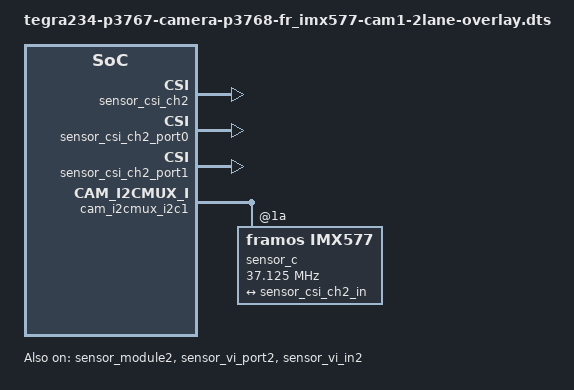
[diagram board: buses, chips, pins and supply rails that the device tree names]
// SPDX-License-Identifier: GPL-2.0
/*
 * Copyright (c) 2024 Framos. All rights reserved.
 *
 * tegra234-p3767-camera-p3768-fr_imx577-cam1-2lane-overlay.dts - IMX577 sensor device tree
 */

/dts-v1/;
/plugin/;

#include <dt-bindings/clock/tegra234-clock.h>
#include <dt-bindings/gpio/tegra234-gpio.h>
#include <dt-bindings/tegra234-p3767-0000-common.h>


/ {
	overlay-name = "Framos IMX577-CAM1-2Lane";
	jetson-header-name = "Jetson 24pin CSI Connector";
	compatible = JETSON_COMPATIBLE_P3768;

	fragment@0 {
		target = <&sensor_module2>;
		__overlay__ {
			status = "okay";
			badge = "imx577_bottomright_framos";
			drivernode0 {
				status = "okay";
				/* Declare PCL support driver (classically known as guid) */
				devname = "imx577 9-001a";
				/* Declare the device-tree hierarchy to driver instance */
				sysfs-device-tree = "/sys/firmware/devicetree/base/bus@0/cam_i2cmux/i2c@1/imx577_c@1a";
			};
		};
	};

	fragment@1 {
		target = <&sensor_vi_port2>;
		__overlay__ {
			status = "okay";
		};
	};

	fragment@2 {
		target = <&sensor_vi_in2>;
		__overlay__ {
			status = "okay";
			bus-width = <2>;
		};
	};

	fragment@3 {
		target = <&sensor_csi_ch2>;
		__overlay__ {
			status = "okay";
			ports {
				status = "okay";
			};
		};
	};

	fragment@4 {
		target = <&sensor_csi_ch2_port0>;
		__overlay__ {
			status = "okay";
		};
	};

	fragment@5 {
		target = <&sensor_csi_ch2_in>;
		__overlay__ {
			status = "okay";
			bus-width = <2>;
			remote-endpoint = <&sensor_out_c>;
		};
	};

	fragment@6 {
		target = <&sensor_csi_ch2_port1>;
		__overlay__ {
			status = "okay";
		};
	};

	fragment@7 {
		target = <&sensor_csi_ch2_out>;
		__overlay__ {
			status = "okay";
		};
	};

	fragment@8 {
		target = <&cam_i2cmux_i2c1>;
		__overlay__ {
			sensor_c: imx577_c@1a {
				compatible = "framos,imx577";
				reg = <0x1a>;

				/* Define any required hw resources needed by driver */
				/* ie. clocks, io pins, power sources */
				clocks = <&bpmp TEGRA234_CLK_EXTPERIPH1>, <&bpmp TEGRA234_CLK_EXTPERIPH1>;
				clock-names = "extperiph1", "pllp_grtba";
				mclk = "extperiph1";
				clock-frequency = <37125000>;

				devnode = "video1";

				physical_w = "10.70";
				physical_h = "8.50";

				sensor_model ="imx577";

				/* Defines number of frames to be dropped by driver internally after applying */
				/* sensor crop settings. Some sensors send corrupt frames after applying */
				/* crop co-ordinates */
				post_crop_frame_drop = "0";

				/* Convert Gain to unit of dB (decibel) befor passing to kernel driver */
				use_decibel_gain = "true";

				/* if true, delay gain setting by one frame to be in sync with exposure */
				delayed_gain = "false";

				/* enable CID_SENSOR_MODE_ID for sensor modes selection */
				use_sensor_mode_id = "false";

				mode0 {
					mclk_khz = "27000";
					num_lanes = "2";
					tegra_sinterface = "serial_c";
					vc_id = "0";
					phy_mode = "DPHY";
					discontinuous_clk = "no";
					dpcm_enable = "false";
					cil_settletime = "0";
					lane_polarity = "0";
					active_w = "4056";
					active_h = "3040";

					dynamic_pixel_bit_depth = "10";
					csi_pixel_bit_depth = "10";
					mode_type = "bayer";
					pixel_phase = "rggb";

					readout_orientation = "0";
					line_length = "4512";
					inherent_gain = "1";
					pix_clk_hz = "420000000";
					serdes_pix_clk_hz = "12000000000"; /* GMSL predefine */

					gain_factor = "1000";
					min_gain_val = "1000"; /* 0dB */
					max_gain_val = "356176"; /* 51dB */
					step_gain_val = "1";
					default_gain = "1000";
					min_hdr_ratio = "1";
					max_hdr_ratio = "64";
					framerate_factor = "1000000";
					min_framerate = "1500000"; /* 1.5 */
					max_framerate = "30000000"; /* 30 */
					step_framerate = "1";
					default_framerate= "30000000";
					exposure_factor = "1000000";
					min_exp_time = "7"; /* us */
					max_exp_time = "660000"; /* us */
					step_exp_time = "1";
					default_exp_time = "10000";/* us */
					embedded_metadata_height = "2";
				};
				mode1 {
					mclk_khz = "27000";
					num_lanes = "2";
					tegra_sinterface = "serial_c";
					vc_id = "0";
					phy_mode = "DPHY";
					discontinuous_clk = "no";
					dpcm_enable = "false";
					cil_settletime = "0";
					lane_polarity = "0";
					active_w = "3840";
					active_h = "2160";

					dynamic_pixel_bit_depth = "10";
					csi_pixel_bit_depth = "10";
					mode_type = "bayer";
					pixel_phase = "rggb";

					readout_orientation = "0";
					line_length = "4512";
					inherent_gain = "1";
					pix_clk_hz = "420000000";
					serdes_pix_clk_hz = "12000000000"; /* GMSL predefine */

					gain_factor = "1000";
					min_gain_val = "1000"; /* 0dB */
					max_gain_val = "356176"; /* 51dB */
					step_gain_val = "1";
					default_gain = "1000";
					min_hdr_ratio = "1";
					max_hdr_ratio = "64";
					framerate_factor = "1000000";
					min_framerate = "1500000"; /* 1.5 */
					max_framerate = "42000000"; /* 42 */
					step_framerate = "1";
					default_framerate= "30000000";
					exposure_factor = "1000000";
					min_exp_time = "7"; /* us */
					max_exp_time = "660000"; /* us */
					step_exp_time = "1";
					default_exp_time = "10000";/* us */
					embedded_metadata_height = "2";
				};
				mode2 {
					mclk_khz = "27000";
					num_lanes = "2";
					tegra_sinterface = "serial_c";
					vc_id = "0";
					phy_mode = "DPHY";
					discontinuous_clk = "no";
					dpcm_enable = "false";
					cil_settletime = "0";
					lane_polarity = "0";
					active_w = "1280";
					active_h = "720";

					dynamic_pixel_bit_depth = "10";
					csi_pixel_bit_depth = "10";
					mode_type = "bayer";
					pixel_phase = "rggb";

					readout_orientation = "0";
					line_length = "4512";
					inherent_gain = "1";
					pix_clk_hz = "420000000";
					serdes_pix_clk_hz = "12000000000"; /* GMSL predefine */

					gain_factor = "1000";
					min_gain_val = "1000"; /* 0dB */
					max_gain_val = "356176"; /* 51dB */
					step_gain_val = "1";
					default_gain = "1000";
					min_hdr_ratio = "1";
					max_hdr_ratio = "64";
					framerate_factor = "1000000";
					min_framerate = "1500000"; /* 1.5 */
					max_framerate = "30000000"; /* 30 */
					step_framerate = "1";
					default_framerate= "30000000";
					exposure_factor = "1000000";
					min_exp_time = "7"; /* us */
					max_exp_time = "660000"; /* us */
					step_exp_time = "1";
					default_exp_time = "10000";/* us */
					embedded_metadata_height = "2";
				};
				mode3 {
					mclk_khz = "27000";
					num_lanes = "2";
					tegra_sinterface = "serial_c";
					vc_id = "0";
					phy_mode = "DPHY";
					discontinuous_clk = "no";
					dpcm_enable = "false";
					cil_settletime = "0";
					lane_polarity = "0";
					active_w = "1920";
					active_h = "1080";

					dynamic_pixel_bit_depth = "10";
					csi_pixel_bit_depth = "10";
					mode_type = "bayer";
					pixel_phase = "rggb";

					readout_orientation = "0";
					line_length = "4512";
					inherent_gain = "1";
					pix_clk_hz = "420000000";
					serdes_pix_clk_hz = "12000000000"; /* GMSL predefine */

					gain_factor = "1000";
					min_gain_val = "1000"; /* 0dB */
					max_gain_val = "356176"; /* 51dB */
					step_gain_val = "1";
					default_gain = "1000";
					min_hdr_ratio = "1";
					max_hdr_ratio = "64";
					framerate_factor = "1000000";
					min_framerate = "1500000"; /* 1.5 */
					max_framerate = "124000000"; /* 124 */
					step_framerate = "1";
					default_framerate= "120000000";
					exposure_factor = "1000000";
					min_exp_time = "7"; /* us */
					max_exp_time = "660000"; /* us */
					step_exp_time = "1";
					default_exp_time = "10000";/* us */
					embedded_metadata_height = "2";
				};
				mode4 {
					mclk_khz = "27000";
					num_lanes = "2";
					tegra_sinterface = "serial_c";
					vc_id = "0";
					phy_mode = "DPHY";
					discontinuous_clk = "no";
					dpcm_enable = "false";
					cil_settletime = "0";
					lane_polarity = "0";
					active_w = "4056";
					active_h = "3040";

					dynamic_pixel_bit_depth = "8";
					csi_pixel_bit_depth = "8";
					mode_type = "bayer";
					pixel_phase = "rggb";

					readout_orientation = "0";
					line_length = "4512";
					inherent_gain = "1";
					pix_clk_hz = "420000000";
					serdes_pix_clk_hz = "12000000000"; /* GMSL predefine */

					gain_factor = "1000";
					min_gain_val = "1000"; /* 0dB */
					max_gain_val = "356176"; /* 51dB */
					step_gain_val = "1";
					default_gain = "1000";
					min_hdr_ratio = "1";
					max_hdr_ratio = "64";
					framerate_factor = "1000000";
					min_framerate = "1500000"; /* 1.5 */
					max_framerate = "30000000"; /* 30 */
					step_framerate = "1";
					default_framerate= "30000000";
					exposure_factor = "1000000";
					min_exp_time = "7"; /* us */
					max_exp_time = "660000"; /* us */
					step_exp_time = "1";
					default_exp_time = "10000";/* us */
					embedded_metadata_height = "2";
				};
				mode5 {
					mclk_khz = "27000";
					num_lanes = "2";
					tegra_sinterface = "serial_c";
					vc_id = "0";
					phy_mode = "DPHY";
					discontinuous_clk = "no";
					dpcm_enable = "false";
					cil_settletime = "0";
					lane_polarity = "0";
					active_w = "3840";
					active_h = "2160";

					dynamic_pixel_bit_depth = "8";
					csi_pixel_bit_depth = "8";
					mode_type = "bayer";
					pixel_phase = "rggb";

					readout_orientation = "0";
					line_length = "4512";
					inherent_gain = "1";
					pix_clk_hz = "420000000";
					serdes_pix_clk_hz = "12000000000"; /* GMSL predefine */

					gain_factor = "1000";
					min_gain_val = "1000"; /* 0dB */
					max_gain_val = "356176"; /* 51dB */
					step_gain_val = "1";
					default_gain = "1000";
					min_hdr_ratio = "1";
					max_hdr_ratio = "64";
					framerate_factor = "1000000";
					min_framerate = "1500000"; /* 1.5 */
					max_framerate = "42000000"; /* 42 */
					step_framerate = "1";
					default_framerate= "30000000";
					exposure_factor = "1000000";
					min_exp_time = "7"; /* us */
					max_exp_time = "660000"; /* us */
					step_exp_time = "1";
					default_exp_time = "10000";/* us */
					embedded_metadata_height = "2";
				};
				mode6 {
					mclk_khz = "27000";
					num_lanes = "2";
					tegra_sinterface = "serial_c";
					vc_id = "0";
					phy_mode = "DPHY";
					discontinuous_clk = "no";
					dpcm_enable = "false";
					cil_settletime = "0";
					lane_polarity = "0";
					active_w = "1280";
					active_h = "720";

					dynamic_pixel_bit_depth = "8";
					csi_pixel_bit_depth = "8";
					mode_type = "bayer";
					pixel_phase = "rggb";

					readout_orientation = "0";
					line_length = "4512";
					inherent_gain = "1";
					pix_clk_hz = "420000000";
					serdes_pix_clk_hz = "12000000000"; /* GMSL predefine */

					gain_factor = "1000";
					min_gain_val = "1000"; /* 0dB */
					max_gain_val = "356176"; /* 51dB */
					step_gain_val = "1";
					default_gain = "1000";
					min_hdr_ratio = "1";
					max_hdr_ratio = "64";
					framerate_factor = "1000000";
					min_framerate = "1500000"; /* 1.5 */
					max_framerate = "30000000"; /* 30 */
					step_framerate = "1";
					default_framerate= "30000000";
					exposure_factor = "1000000";
					min_exp_time = "7"; /* us */
					max_exp_time = "660000"; /* us */
					step_exp_time = "1";
					default_exp_time = "10000";/* us */
					embedded_metadata_height = "2";
				};
				mode7 {
					mclk_khz = "27000";
					num_lanes = "2";
					tegra_sinterface = "serial_c";
					vc_id = "0";
					phy_mode = "DPHY";
					discontinuous_clk = "no";
					dpcm_enable = "false";
					cil_settletime = "0";
					lane_polarity = "0";
					active_w = "1920";
					active_h = "1080";

					dynamic_pixel_bit_depth = "8";
					csi_pixel_bit_depth = "8";
					mode_type = "bayer";
					pixel_phase = "rggb";

					readout_orientation = "0";
					line_length = "4512";
					inherent_gain = "1";
					pix_clk_hz = "420000000";
					serdes_pix_clk_hz = "12000000000"; /* GMSL predefine */

					gain_factor = "1000";
					min_gain_val = "1000"; /* 0dB */
					max_gain_val = "356176"; /* 51dB */
					step_gain_val = "1";
					default_gain = "1000";
					min_hdr_ratio = "1";
					max_hdr_ratio = "64";
					framerate_factor = "1000000";
					min_framerate = "1500000"; /* 1.5 */
					max_framerate = "124000000"; /* 124 */
					step_framerate = "1";
					default_framerate= "120000000";
					exposure_factor = "1000000";
					min_exp_time = "7"; /* us */
					max_exp_time = "660000"; /* us */
					step_exp_time = "1";
					default_exp_time = "10000";/* us */
					embedded_metadata_height = "2";
				};
				mode8 {
					mclk_khz = "27000";
					num_lanes = "2";
					tegra_sinterface = "serial_c";
					vc_id = "0";
					phy_mode = "DPHY";
					discontinuous_clk = "no";
					dpcm_enable = "false";
					cil_settletime = "0";
					lane_polarity = "0";
					active_w = "4056";
					active_h = "3040";

					dynamic_pixel_bit_depth = "12";
					csi_pixel_bit_depth = "12";
					mode_type = "bayer";
					pixel_phase = "rggb";

					readout_orientation = "0";
					line_length = "4512";
					inherent_gain = "1";
					pix_clk_hz = "420000000";
					serdes_pix_clk_hz = "12000000000"; /* GMSL predefine */

					gain_factor = "1000";
					min_gain_val = "1000"; /* 0dB */
					max_gain_val = "356176"; /* 51dB */
					step_gain_val = "1";
					default_gain = "1000";
					min_hdr_ratio = "1";
					max_hdr_ratio = "64";
					framerate_factor = "1000000";
					min_framerate = "1500000"; /* 1.5 */
					max_framerate = "22000000"; /* 22 */
					step_framerate = "1";
					default_framerate= "22000000";
					exposure_factor = "1000000";
					min_exp_time = "7"; /* us */
					max_exp_time = "660000"; /* us */
					step_exp_time = "1";
					default_exp_time = "10000";/* us */
					embedded_metadata_height = "2";
				};
				mode9 {
					mclk_khz = "27000";
					num_lanes = "2";
					tegra_sinterface = "serial_c";
					vc_id = "0";
					phy_mode = "DPHY";
					discontinuous_clk = "no";
					dpcm_enable = "false";
					cil_settletime = "0";
					lane_polarity = "0";
					active_w = "3840";
					active_h = "2160";

					dynamic_pixel_bit_depth = "12";
					csi_pixel_bit_depth = "12";
					mode_type = "bayer";
					pixel_phase = "rggb";

					readout_orientation = "0";
					line_length = "4512";
					inherent_gain = "1";
					pix_clk_hz = "420000000";
					serdes_pix_clk_hz = "12000000000"; /* GMSL predefine */

					gain_factor = "1000";
					min_gain_val = "1000"; /* 0dB */
					max_gain_val = "356176"; /* 51dB */
					step_gain_val = "1";
					default_gain = "1000";
					min_hdr_ratio = "1";
					max_hdr_ratio = "64";
					framerate_factor = "1000000";
					min_framerate = "1500000"; /* 1.5 */
					max_framerate = "31000000"; /* 31 */
					step_framerate = "1";
					default_framerate= "30000000";
					exposure_factor = "1000000";
					min_exp_time = "7"; /* us */
					max_exp_time = "660000"; /* us */
					step_exp_time = "1";
					default_exp_time = "10000";/* us */
					embedded_metadata_height = "2";
				};
				mode10 {
					mclk_khz = "27000";
					num_lanes = "2";
					tegra_sinterface = "serial_c";
					vc_id = "0";
					phy_mode = "DPHY";
					discontinuous_clk = "no";
					dpcm_enable = "false";
					cil_settletime = "0";
					lane_polarity = "0";
					active_w = "1280";
					active_h = "720";

					dynamic_pixel_bit_depth = "12";
					csi_pixel_bit_depth = "12";
					mode_type = "bayer";
					pixel_phase = "rggb";

					readout_orientation = "0";
					line_length = "4512";
					inherent_gain = "1";
					pix_clk_hz = "420000000";
					serdes_pix_clk_hz = "12000000000"; /* GMSL predefine */

					gain_factor = "1000";
					min_gain_val = "1000"; /* 0dB */
					max_gain_val = "356176"; /* 51dB */
					step_gain_val = "1";
					default_gain = "1000";
					min_hdr_ratio = "1";
					max_hdr_ratio = "64";
					framerate_factor = "1000000";
					min_framerate = "1500000"; /* 1.5 */
					max_framerate = "22000000"; /* 22 */
					step_framerate = "1";
					default_framerate= "22000000";
					exposure_factor = "1000000";
					min_exp_time = "7"; /* us */
					max_exp_time = "660000"; /* us */
					step_exp_time = "1";
					default_exp_time = "10000";/* us */
					embedded_metadata_height = "2";
				};
				ports {
					#address-cells = <1>;
					#size-cells = <0>;
					port@0 {
						reg = <0>;
						sensor_out_c: endpoint {
							vc-id = <0>;
							port-index = <2>;
							bus-width = <2>;
							remote-endpoint = <&sensor_csi_ch2_in>;
							};
					};
				};
			};
		};
	};

};
